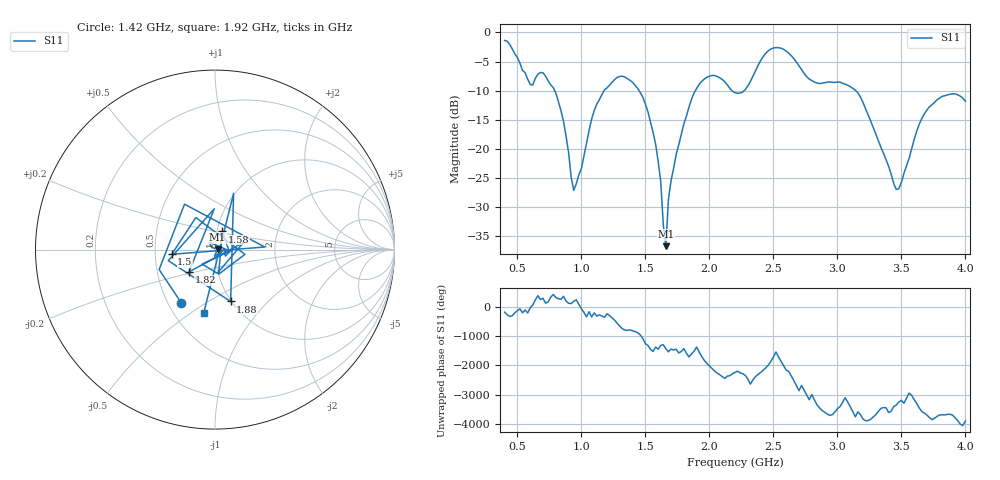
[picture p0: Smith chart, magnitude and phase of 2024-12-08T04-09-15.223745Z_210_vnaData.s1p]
!Created with skrf (http://scikit-rf.org).
# Hz S RI R 50.0
!freq ReS11 ImS11
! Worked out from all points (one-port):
!   181 points, 400 MHz to 4 GHz, reference 50 ohm
!   lowest |S11| = -36.7 dB at 1.66 GHz (marker M1), VSWR 1.03, Z = 51.5 + j0.265 ohm
!   |S11| at or under -10 dB: 791.2 MHz to 1.177 GHz (385.3 MHz wide, 39.2 % of centre); 1.451 GHz to 1.89 GHz (439.6 MHz wide, 26.3 % of centre); 3.144 GHz to end of sweep (the widest 3 of 4)
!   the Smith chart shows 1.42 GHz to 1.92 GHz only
!   S11 on the Smith chart (normalised r, x): 1.42 GHz: 0.58, -0.39; 1.5 GHz: 0.61, -0.03; 1.58 GHz: 1.06, +0.22; 1.82 GHz: 0.73, -0.19; 1.88 GHz: 0.99, -0.63; 1.92 GHz: 0.70, -0.56
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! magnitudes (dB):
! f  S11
! 400 MHz  -1.4
! 600 MHz  -8.9
! 720 MHz  -7.5
! 860 MHz  -15.2
! 940 MHz  -27.1
! 1.12 GHz  -12.3
! 1.3 GHz  -7.6
! 1.42 GHz  -9.1
! 1.5 GHz  -12.3
! 1.58 GHz  -19.2
! 1.62 GHz  -25.6
! 1.66 GHz  -36.7
! 1.68 GHz  -28.7
! 1.76 GHz  -19.3
! 1.82 GHz  -14.4
! 1.88 GHz  -10.4
! 1.92 GHz  -8.9
! 2.04 GHz  -7.4
! 2.2 GHz  -10.4
! 2.48 GHz  -2.9
! 2.66 GHz  -4.5
! 2.82 GHz  -8.5
! 3.1 GHz  -9.3
! 3.2 GHz  -12.0
! 3.46 GHz  -27.0
! 3.56 GHz  -21.6
! 3.72 GHz  -12.7
! 4 GHz  -11.8
